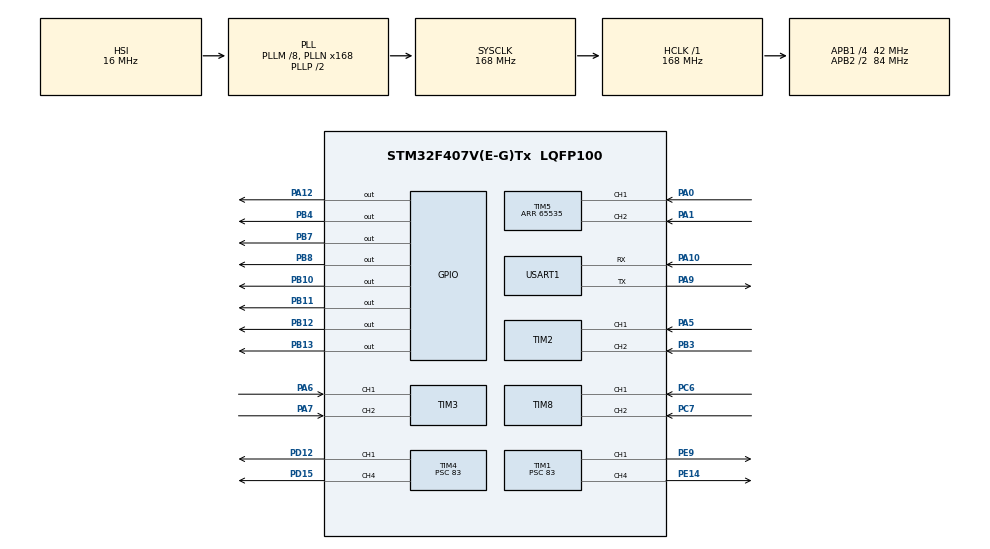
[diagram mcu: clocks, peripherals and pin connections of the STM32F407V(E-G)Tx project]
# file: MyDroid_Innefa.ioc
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Mcu.Family=STM32F4
Mcu.Name=STM32F407V(E-G)Tx
Mcu.Package=LQFP100
NVIC.PriorityGroup=NVIC_PRIORITYGROUP_4
PA0-WKUP.Signal=S_TIM5_CH1
PA1.Signal=S_TIM5_CH2
PA10.Mode=Asynchronous
PA10.Signal=USART1_RX
PA12.GPIO_Speed=GPIO_SPEED_FREQ_HIGH
PA12.Signal=GPIO_Output
PA5.Signal=S_TIM2_CH1_ETR
PA6.Signal=S_TIM3_CH1
PA7.Signal=S_TIM3_CH2
PA9.Mode=Asynchronous
PA9.Signal=USART1_TX
PB10.GPIO_Speed=GPIO_SPEED_FREQ_HIGH
PB10.Signal=GPIO_Output
PB11.GPIO_Speed=GPIO_SPEED_FREQ_HIGH
PB11.Signal=GPIO_Output
PB12.GPIO_Speed=GPIO_SPEED_FREQ_HIGH
PB12.Signal=GPIO_Output
PB13.GPIO_Speed=GPIO_SPEED_FREQ_HIGH
PB13.Signal=GPIO_Output
PB3.Signal=S_TIM2_CH2
PB4.GPIO_Speed=GPIO_SPEED_FREQ_HIGH
PB4.Signal=GPIO_Output
PB7.GPIO_Speed=GPIO_SPEED_FREQ_HIGH
PB7.Signal=GPIO_Output
PB8.GPIO_Speed=GPIO_SPEED_FREQ_HIGH
PB8.Signal=GPIO_Output
PC6.Signal=S_TIM8_CH1
PC7.Signal=S_TIM8_CH2
PD12.Signal=S_TIM4_CH1
PD15.Signal=S_TIM4_CH4
PE14.Signal=S_TIM1_CH4
PE9.Signal=S_TIM1_CH1
ProjectManager.HeapSize=0x200
ProjectManager.StackSize=0x400
ProjectManager.TargetToolchain=MDK-ARM V5.32
RCC.48MHZClocksFreq_Value=84000000
RCC.AHBFreq_Value=168000000
RCC.APB1CLKDivider=RCC_HCLK_DIV4
RCC.APB1Freq_Value=42000000
RCC.APB1TimFreq_Value=84000000
RCC.APB2CLKDivider=RCC_HCLK_DIV2
RCC.APB2Freq_Value=84000000
RCC.APB2TimFreq_Value=168000000
RCC.CortexFreq_Value=168000000
RCC.HCLKFreq_Value=168000000
RCC.HSE_VALUE=25000000
RCC.HSI_VALUE=16000000
RCC.LSE_VALUE=32768
RCC.PLLM=8
RCC.PLLN=168
RCC.SYSCLKFreq_VALUE=168000000
RCC.SYSCLKSource=RCC_SYSCLKSOURCE_PLLCLK
RCC.VCOOutputFreq_Value=336000000
SH.S_TIM1_CH1.0=TIM1_CH1,PWM Generation1 CH1
SH.S_TIM1_CH4.0=TIM1_CH4,PWM Generation4 CH4
SH.S_TIM2_CH1_ETR.0=TIM2_CH1,Encoder_Interface
SH.S_TIM2_CH2.0=TIM2_CH2,Encoder_Interface
SH.S_TIM3_CH1.0=TIM3_CH1,Encoder_Interface
SH.S_TIM3_CH2.0=TIM3_CH2,Encoder_Interface
SH.S_TIM4_CH1.0=TIM4_CH1,PWM Generation1 CH1
SH.S_TIM4_CH4.0=TIM4_CH4,PWM Generation4 CH4
SH.S_TIM5_CH1.0=TIM5_CH1,Encoder_Interface
SH.S_TIM5_CH2.0=TIM5_CH2,Encoder_Interface
SH.S_TIM8_CH1.0=TIM8_CH1,Encoder_Interface
SH.S_TIM8_CH2.0=TIM8_CH2,Encoder_Interface
TIM1.Channel-PWM\ Generation1\ CH1=TIM_CHANNEL_1
TIM1.Channel-PWM\ Generation4\ CH4=TIM_CHANNEL_4
TIM1.Period=999
TIM1.Prescaler=83
TIM3.EncoderMode=TIM_ENCODERMODE_TI12
TIM4.Channel-PWM\ Generation1\ CH1=TIM_CHANNEL_1
TIM4.Channel-PWM\ Generation4\ CH4=TIM_CHANNEL_4
TIM4.Period=999
TIM4.Prescaler=83
TIM5.EncoderMode=TIM_ENCODERMODE_TI12
TIM5.Period=65535
TIM8.EncoderMode=TIM_ENCODERMODE_TI12
USART1.VirtualMode=VM_ASYNC
board=custom

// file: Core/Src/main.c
/* USER CODE BEGIN Header */
/**
  ******************************************************************************
  * @file           : main.c
  * @brief          : Main program body
  ******************************************************************************
  * @attention
  *
  * Copyright (c) 2026 STMicroelectronics.
  * All rights reserved.
  *
  * This software is licensed under terms that can be found in the LICENSE file
  * in the root directory of this software component.
  * If no LICENSE file comes with this software, it is provided AS-IS.
  *
  ******************************************************************************
  */
/* USER CODE END Header */
#include "main.h"

/* USER CODE BEGIN Includes */
#include <stdbool.h>
#include <string.h>

#include "motor_control.h"
#include "ps2_gamepad.h"
#include "protocol.h"

/* USER CODE END Includes */

TIM_HandleTypeDef htim1;
TIM_HandleTypeDef htim2;
TIM_HandleTypeDef htim3;
TIM_HandleTypeDef htim4;
TIM_HandleTypeDef htim5;
TIM_HandleTypeDef htim8;

UART_HandleTypeDef huart1;

/* USER CODE BEGIN PV */
static uint8_t g_uart1_rx_byte = 0U;
static volatile uint8_t g_has_command = 0U;
static RobotCommand g_latest_command;
static PS2GamepadState g_ps2_state;
static uint8_t g_ps2_manual_enabled = 0U;
static uint8_t g_ps2_estop_latched = 0U;
static uint8_t g_ps2_start_prev = 0U;
static uint8_t g_ps2_select_prev = 0U;
static uint32_t g_ps2_last_poll_ms = 0U;

/* USER CODE END PV */

void SystemClock_Config(void);
static void MX_GPIO_Init(void);
static void MX_TIM1_Init(void);
static void MX_TIM2_Init(void);
static void MX_TIM3_Init(void);
static void MX_TIM4_Init(void);
static void MX_TIM5_Init(void);
static void MX_TIM8_Init(void);
static void MX_USART1_UART_Init(void);
void HAL_TIM_MspPostInit(TIM_HandleTypeDef *htim);
/* USER CODE BEGIN PFP */
static void App_EnableUsart1Interrupt(void);
static void App_StartUart1Receive(void);
static bool App_CopyLatestCommand(RobotCommand *out_command);
static bool App_CommandTimedOut(const RobotCommand *command, uint32_t now_ms);
static void App_PollPs2Gamepad(uint32_t now_ms);
static void App_UpdatePs2ModeState(const PS2GamepadState *state);
static bool App_GetPs2DriveCommand(float *vx_mps, float *vy_mps, float *omega_radps);
static bool App_HandlePs2Bypass(uint32_t now_ms);

/* USER CODE END PFP */

/* USER CODE BEGIN 0 */
static void App_EnableUsart1Interrupt(void)
{
  /*
   * CubeMX 当前已经生成了 USART1_IRQHandler，
   * 但没有自动在 NVIC 中打开该中断，这里在应用层显式补齐。
   */
  HAL_NVIC_SetPriority(USART1_IRQn, 1U, 0U);
  HAL_NVIC_EnableIRQ(USART1_IRQn);
}

static void App_StartUart1Receive(void)
{
  /*
   * 串口接收采用“单字节中断 + 协议状态机拼帧”。
   * 这样可以在存在噪声字节时继续通过帧头重新同步，
   * 是当前阶段最稳妥、最容易维护的下位机接收方式。
   */
  if (HAL_UART_Receive_IT(&huart1, &g_uart1_rx_byte, 1U) != HAL_OK)
  {
    Error_Handler();
  }
}

static bool App_CopyLatestCommand(RobotCommand *out_command)
{
  bool has_command = false;
  uint32_t primask;

  if (out_command == NULL)
  {
    return false;
  }

  primask = __get_PRIMASK();
  __disable_irq();
  if (g_has_command != 0U)
  {
    *out_command = g_latest_command;
    has_command = true;
  }
  if (primask == 0U)
  {
    __enable_irq();
  }

  return has_command;
}

static bool App_CommandTimedOut(const RobotCommand *command, uint32_t now_ms)
{
  if (command == NULL)
  {
    return true;
  }

  return (now_ms - command->last_update_ms) > UART_COMMAND_TIMEOUT_MS;
}

static void App_PollPs2Gamepad(uint32_t now_ms)
{
  if ((now_ms - g_ps2_last_poll_ms) < PS2_GAMEPAD_POLL_INTERVAL_MS)
  {
    return;
  }

  g_ps2_last_poll_ms = now_ms;
  if (PS2_Gamepad_Poll(&g_ps2_state))
  {
    App_UpdatePs2ModeState(&g_ps2_state);
  }
  else
  {
    /*
     * 如果当前轮询没读到有效帧，就清掉边沿检测状态，避免后续“补读到一帧”时误判按钮连击。
     * 是否真正视为掉线，由超时逻辑统一判断。
     */
    g_ps2_start_prev = 0U;
    g_ps2_select_prev = 0U;
  }
}

static void App_UpdatePs2ModeState(const PS2GamepadState *state)
{
  uint8_t start_pressed;
  uint8_t select_pressed;

  if (state == NULL)
  {
    return;
  }

  start_pressed = PS2_Gamepad_IsPressed(state, PS2_BUTTON_START) ? 1U : 0U;
  select_pressed = PS2_Gamepad_IsPressed(state, PS2_BUTTON_SELECT) ? 1U : 0U;

  /*
   * SELECT：急停并退出旁路模式。
   * 这样用户在本地手柄控制时，也能在 STM32 这一层直接切断底盘输出。
   */
  if ((select_pressed != 0U) && (g_ps2_select_prev == 0U))
  {
    g_ps2_estop_latched = 1U;
    g_ps2_manual_enabled = 0U;
  }

  /*
   * START：切换旁路模式。
   * 如果之前因为 SELECT 急停而锁死，按一次 START 会先解除急停，再进入旁路模式。
   */
  if ((start_pressed != 0U) && (g_ps2_start_prev == 0U))
  {
    g_ps2_estop_latched = 0U;
    g_ps2_manual_enabled = (g_ps2_manual_enabled == 0U) ? 1U : 0U;
  }

  g_ps2_start_prev = start_pressed;
  g_ps2_select_prev = select_pressed;
}

static bool App_GetPs2DriveCommand(float *vx_mps, float *vy_mps, float *omega_radps)
{
  float forward;
  float strafe;
  float rotate;
  float speed_scale = PS2_GAMEPAD_NORMAL_SCALE;

  if ((vx_mps == NULL) || (vy_mps == NULL) || (omega_radps == NULL))
  {
    return false;
  }

  if ((!g_ps2_state.connected) || (!g_ps2_state.analog_mode))
  {
    return false;
  }

  /*
   * 轴映射约定：
   * - 左摇杆 Y：前进 / 后退
   * - 左摇杆 X：左右平移
   * - 右摇杆 X：原地旋转
   *
   * 由于 PS2 原始值中“向上/向左”通常对应更小的数值，
   * 所以下面会根据车体坐标系再做一次符号调整。
   */
  forward = -PS2_Gamepad_NormalizeAxis(g_ps2_state.ly, PS2_GAMEPAD_AXIS_DEADBAND);
  strafe = -PS2_Gamepad_NormalizeAxis(g_ps2_state.lx, PS2_GAMEPAD_AXIS_DEADBAND);
  rotate = -PS2_Gamepad_NormalizeAxis(g_ps2_state.rx, PS2_GAMEPAD_AXIS_DEADBAND);

  /*
   * L1 / R1 做速度档位切换：
   * - L1：慢速精调
   * - 默认：普通调试速度
   * - R1：全速
   */
  if (PS2_Gamepad_IsPressed(&g_ps2_state, PS2_BUTTON_L1))
  {
    speed_scale = PS2_GAMEPAD_SLOW_SCALE;
  }
  else if (PS2_Gamepad_IsPressed(&g_ps2_state, PS2_BUTTON_R1))
  {
    speed_scale = PS2_GAMEPAD_FAST_SCALE;
  }

  *vx_mps = forward * MAX_BODY_VX_MPS * speed_scale;
  *vy_mps = strafe * MAX_BODY_VY_MPS * speed_scale;
  *omega_radps = rotate * MAX_BODY_OMEGA_RADPS * speed_scale;
  return true;
}

static bool App_HandlePs2Bypass(uint32_t now_ms)
{
  float vx_mps;
  float vy_mps;
  float omega_radps;

  App_PollPs2Gamepad(now_ms);

  /*
   * 只有在两种情况下，PS2 旁路链路才会“抢占”UART：
   * 1. 用户明确按 START 进入了旁路模式；
   * 2. 用户按 SELECT 触发了本地急停，需要由 STM32 本地保持停车。
   */
  if ((g_ps2_manual_enabled == 0U) && (g_ps2_estop_latched == 0U))
  {
    return false;
  }

  /*
   * 只要本地急停锁存、手柄超时或接收器失联，就直接停车。
   * 注意这里不会自动切回 UART，目的是防止用户以为自己在本地控车，
   * 但实际上又被 Radxa 的旧命令接管。
   */
  if ((g_ps2_estop_latched != 0U) ||
      (!PS2_Gamepad_IsFresh(&g_ps2_state, now_ms, PS2_GAMEPAD_TIMEOUT_MS)) ||
      (!g_ps2_state.connected) ||
      (!g_ps2_state.analog_mode))
  {
    MotorControl_StopAll();
    return true;
  }

  if (!App_GetPs2DriveCommand(&vx_mps, &vy_mps, &omega_radps))
  {
    MotorControl_StopAll();
    return true;
  }

  MotorControl_SetBodyVelocity(vx_mps, vy_mps, omega_radps);
  return true;
}

/* USER CODE END 0 */

int main(void)
{

  /* MCU Configuration--------------------------------------------------------*/

  /* Reset of all peripherals, Initializes the Flash interface and the Systick. */
  HAL_Init();

  /* Configure the system clock */
  SystemClock_Config();

  /* Initialize all configured peripherals */
  MX_GPIO_Init();
  MX_TIM1_Init();
  MX_TIM2_Init();
  MX_TIM3_Init();
  MX_TIM4_Init();
  MX_TIM5_Init();
  MX_TIM8_Init();
  MX_USART1_UART_Init();
  /* USER CODE BEGIN 2 */
  /*
   * 先清空上一轮状态，确保系统上电时不会沿用未知命令。
   */
  memset(&g_latest_command, 0, sizeof(g_latest_command));
  g_latest_command.pan_angle_deg = PAN_SERVO_NEUTRAL_DEG;
  memset(&g_ps2_state, 0, sizeof(g_ps2_state));
  Protocol_Init();

  /*
   * 当前阶段只初始化麦轮控制：
   * - TIM1 驱动前轴两轮；
   * - TIM4 驱动后轴两轮；
   * - 不初始化 Pan/云台硬件输出。
   */
  MotorControl_Init(&htim1, &htim4);

  /*
   * 初始化 PS2 手柄直连旁路控制。
   * 默认不会自动接管底盘，必须由用户在手柄上按 START 才进入旁路模式。
   */
  PS2_Gamepad_Init();

  /*
   * 打开 USART1 中断，并立即挂起第一字节接收。
   * 从这一刻开始，ROCK 3B 发来的控制帧才会真正进入协议解析链路。
   */
  App_EnableUsart1Interrupt();
  App_StartUart1Receive();

  /* USER CODE END 2 */

  /* Infinite loop */
  while (1)
  {

    /* USER CODE BEGIN 3 */
    RobotCommand command_snapshot;
    const uint32_t now_ms = HAL_GetTick();
    const bool has_command = App_CopyLatestCommand(&command_snapshot);

    /*
     * 优先处理 PS2 本地旁路控制。
     * 一旦旁路模式被用户显式开启，STM32 会优先服从本地手柄。
     */
    if (App_HandlePs2Bypass(now_ms))
    {
      HAL_Delay(5);
      continue;
    }

    /*
     * 只有满足下面 4 个条件时才允许驱动底盘：
     * 1. 已经至少收到过一帧完整合法命令；
     * 2. 该命令没有超时；
     * 3. 上位机明确标记该命令有效；
     * 4. 当前不处于急停状态。
     *
     * 任何一个条件不满足，都直接停车进入保护。
     */
    if ((!has_command) ||
        App_CommandTimedOut(&command_snapshot, now_ms) ||
        (!command_snapshot.command_valid) ||
        command_snapshot.estop)
    {
      MotorControl_StopAll();
    }
    else
    {
      MotorControl_ApplyCommand(&command_snapshot);
    }

    /*
     * 短延时用于避免主循环空转占满 CPU。
     * 控制实时性主要由串口中断、协议解析和超时保护保证。
     */
    HAL_Delay(5);
  }
  /* USER CODE END 3 */
}

void SystemClock_Config(void)
{
  RCC_OscInitTypeDef RCC_OscInitStruct = {0};
  RCC_ClkInitTypeDef RCC_ClkInitStruct = {0};

  /** Configure the main internal regulator output voltage
  */
  __HAL_RCC_PWR_CLK_ENABLE();
  __HAL_PWR_VOLTAGESCALING_CONFIG(PWR_REGULATOR_VOLTAGE_SCALE1);

  /** Initializes the RCC Oscillators according to the specified parameters
  * in the RCC_OscInitTypeDef structure.
  */
  RCC_OscInitStruct.OscillatorType = RCC_OSCILLATORTYPE_HSI;
  RCC_OscInitStruct.HSIState = RCC_HSI_ON;
  RCC_OscInitStruct.HSICalibrationValue = RCC_HSICALIBRATION_DEFAULT;
  RCC_OscInitStruct.PLL.PLLState = RCC_PLL_ON;
  RCC_OscInitStruct.PLL.PLLSource = RCC_PLLSOURCE_HSI;
  RCC_OscInitStruct.PLL.PLLM = 8;
  RCC_OscInitStruct.PLL.PLLN = 168;
  RCC_OscInitStruct.PLL.PLLP = RCC_PLLP_DIV2;
  RCC_OscInitStruct.PLL.PLLQ = 4;
  if (HAL_RCC_OscConfig(&RCC_OscInitStruct) != HAL_OK)
  {
    Error_Handler();
  }

  /** Initializes the CPU, AHB and APB buses clocks
  */
  RCC_ClkInitStruct.ClockType = RCC_CLOCKTYPE_HCLK|RCC_CLOCKTYPE_SYSCLK
                              |RCC_CLOCKTYPE_PCLK1|RCC_CLOCKTYPE_PCLK2;
  RCC_ClkInitStruct.SYSCLKSource = RCC_SYSCLKSOURCE_PLLCLK;
  RCC_ClkInitStruct.AHBCLKDivider = RCC_SYSCLK_DIV1;
  RCC_ClkInitStruct.APB1CLKDivider = RCC_HCLK_DIV4;
  RCC_ClkInitStruct.APB2CLKDivider = RCC_HCLK_DIV2;

  if (HAL_RCC_ClockConfig(&RCC_ClkInitStruct, FLASH_LATENCY_5) != HAL_OK)
  {
    Error_Handler();
  }
}

static void MX_TIM1_Init(void)
{

  TIM_MasterConfigTypeDef sMasterConfig = {0};
  TIM_OC_InitTypeDef sConfigOC = {0};
  TIM_BreakDeadTimeConfigTypeDef sBreakDeadTimeConfig = {0};

  htim1.Instance = TIM1;
  htim1.Init.Prescaler = 83;
  htim1.Init.CounterMode = TIM_COUNTERMODE_UP;
  htim1.Init.Period = 999;
  htim1.Init.ClockDivision = TIM_CLOCKDIVISION_DIV1;
  htim1.Init.RepetitionCounter = 0;
  htim1.Init.AutoReloadPreload = TIM_AUTORELOAD_PRELOAD_DISABLE;
  if (HAL_TIM_PWM_Init(&htim1) != HAL_OK)
  {
    Error_Handler();
  }
  sMasterConfig.MasterOutputTrigger = TIM_TRGO_RESET;
  sMasterConfig.MasterSlaveMode = TIM_MASTERSLAVEMODE_DISABLE;
  if (HAL_TIMEx_MasterConfigSynchronization(&htim1, &sMasterConfig) != HAL_OK)
  {
    Error_Handler();
  }
  sConfigOC.OCMode = TIM_OCMODE_PWM1;
  sConfigOC.Pulse = 0;
  sConfigOC.OCPolarity = TIM_OCPOLARITY_HIGH;
  sConfigOC.OCNPolarity = TIM_OCNPOLARITY_HIGH;
  sConfigOC.OCFastMode = TIM_OCFAST_DISABLE;
  sConfigOC.OCIdleState = TIM_OCIDLESTATE_RESET;
  sConfigOC.OCNIdleState = TIM_OCNIDLESTATE_RESET;
  if (HAL_TIM_PWM_ConfigChannel(&htim1, &sConfigOC, TIM_CHANNEL_1) != HAL_OK)
  {
    Error_Handler();
  }
  if (HAL_TIM_PWM_ConfigChannel(&htim1, &sConfigOC, TIM_CHANNEL_4) != HAL_OK)
  {
    Error_Handler();
  }
  sBreakDeadTimeConfig.OffStateRunMode = TIM_OSSR_DISABLE;
  sBreakDeadTimeConfig.OffStateIDLEMode = TIM_OSSI_DISABLE;
  sBreakDeadTimeConfig.LockLevel = TIM_LOCKLEVEL_OFF;
  sBreakDeadTimeConfig.DeadTime = 0;
  sBreakDeadTimeConfig.BreakState = TIM_BREAK_DISABLE;
  sBreakDeadTimeConfig.BreakPolarity = TIM_BREAKPOLARITY_HIGH;
  sBreakDeadTimeConfig.AutomaticOutput = TIM_AUTOMATICOUTPUT_DISABLE;
  if (HAL_TIMEx_ConfigBreakDeadTime(&htim1, &sBreakDeadTimeConfig) != HAL_OK)
  {
    Error_Handler();
  }
  HAL_TIM_MspPostInit(&htim1);

}

static void MX_TIM2_Init(void)
{

  TIM_Encoder_InitTypeDef sConfig = {0};
  TIM_MasterConfigTypeDef sMasterConfig = {0};

  htim2.Instance = TIM2;
  htim2.Init.Prescaler = 0;
  htim2.Init.CounterMode = TIM_COUNTERMODE_UP;
  htim2.Init.Period = 4294967295;
  htim2.Init.ClockDivision = TIM_CLOCKDIVISION_DIV1;
  htim2.Init.AutoReloadPreload = TIM_AUTORELOAD_PRELOAD_DISABLE;
  sConfig.EncoderMode = TIM_ENCODERMODE_TI1;
  sConfig.IC1Polarity = TIM_ICPOLARITY_RISING;
  sConfig.IC1Selection = TIM_ICSELECTION_DIRECTTI;
  sConfig.IC1Prescaler = TIM_ICPSC_DIV1;
  sConfig.IC1Filter = 0;
  sConfig.IC2Polarity = TIM_ICPOLARITY_RISING;
  sConfig.IC2Selection = TIM_ICSELECTION_DIRECTTI;
  sConfig.IC2Prescaler = TIM_ICPSC_DIV1;
  sConfig.IC2Filter = 0;
  if (HAL_TIM_Encoder_Init(&htim2, &sConfig) != HAL_OK)
  {
    Error_Handler();
  }
  sMasterConfig.MasterOutputTrigger = TIM_TRGO_RESET;
  sMasterConfig.MasterSlaveMode = TIM_MASTERSLAVEMODE_DISABLE;
  if (HAL_TIMEx_MasterConfigSynchronization(&htim2, &sMasterConfig) != HAL_OK)
  {
    Error_Handler();
  }

}

static void MX_TIM3_Init(void)
{

  TIM_Encoder_InitTypeDef sConfig = {0};
  TIM_MasterConfigTypeDef sMasterConfig = {0};

  htim3.Instance = TIM3;
  htim3.Init.Prescaler = 0;
  htim3.Init.CounterMode = TIM_COUNTERMODE_UP;
  htim3.Init.Period = 65535;
  htim3.Init.ClockDivision = TIM_CLOCKDIVISION_DIV1;
  htim3.Init.AutoReloadPreload = TIM_AUTORELOAD_PRELOAD_DISABLE;
  sConfig.EncoderMode = TIM_ENCODERMODE_TI12;
  sConfig.IC1Polarity = TIM_ICPOLARITY_RISING;
  sConfig.IC1Selection = TIM_ICSELECTION_DIRECTTI;
  sConfig.IC1Prescaler = TIM_ICPSC_DIV1;
  sConfig.IC1Filter = 0;
  sConfig.IC2Polarity = TIM_ICPOLARITY_RISING;
  sConfig.IC2Selection = TIM_ICSELECTION_DIRECTTI;
  sConfig.IC2Prescaler = TIM_ICPSC_DIV1;
  sConfig.IC2Filter = 0;
  if (HAL_TIM_Encoder_Init(&htim3, &sConfig) != HAL_OK)
  {
    Error_Handler();
  }
  sMasterConfig.MasterOutputTrigger = TIM_TRGO_RESET;
  sMasterConfig.MasterSlaveMode = TIM_MASTERSLAVEMODE_DISABLE;
  if (HAL_TIMEx_MasterConfigSynchronization(&htim3, &sMasterConfig) != HAL_OK)
  {
    Error_Handler();
  }

}

static void MX_TIM4_Init(void)
{

  TIM_MasterConfigTypeDef sMasterConfig = {0};
  TIM_OC_InitTypeDef sConfigOC = {0};

  htim4.Instance = TIM4;
  htim4.Init.Prescaler = 83;
  htim4.Init.CounterMode = TIM_COUNTERMODE_UP;
  htim4.Init.Period = 999;
  htim4.Init.ClockDivision = TIM_CLOCKDIVISION_DIV1;
  htim4.Init.AutoReloadPreload = TIM_AUTORELOAD_PRELOAD_DISABLE;
  if (HAL_TIM_PWM_Init(&htim4) != HAL_OK)
  {
    Error_Handler();
  }
  sMasterConfig.MasterOutputTrigger = TIM_TRGO_RESET;
  sMasterConfig.MasterSlaveMode = TIM_MASTERSLAVEMODE_DISABLE;
  if (HAL_TIMEx_MasterConfigSynchronization(&htim4, &sMasterConfig) != HAL_OK)
  {
    Error_Handler();
  }
  sConfigOC.OCMode = TIM_OCMODE_PWM1;
  sConfigOC.Pulse = 0;
  sConfigOC.OCPolarity = TIM_OCPOLARITY_HIGH;
  sConfigOC.OCFastMode = TIM_OCFAST_DISABLE;
  if (HAL_TIM_PWM_ConfigChannel(&htim4, &sConfigOC, TIM_CHANNEL_1) != HAL_OK)
  {
    Error_Handler();
  }
  if (HAL_TIM_PWM_ConfigChannel(&htim4, &sConfigOC, TIM_CHANNEL_4) != HAL_OK)
  {
    Error_Handler();
  }
  HAL_TIM_MspPostInit(&htim4);

}

static void MX_TIM5_Init(void)
{

  TIM_Encoder_InitTypeDef sConfig = {0};
  TIM_MasterConfigTypeDef sMasterConfig = {0};

  htim5.Instance = TIM5;
  htim5.Init.Prescaler = 0;
  htim5.Init.CounterMode = TIM_COUNTERMODE_UP;
  htim5.Init.Period = 65535;
  htim5.Init.ClockDivision = TIM_CLOCKDIVISION_DIV1;
  htim5.Init.AutoReloadPreload = TIM_AUTORELOAD_PRELOAD_DISABLE;
  sConfig.EncoderMode = TIM_ENCODERMODE_TI12;
  sConfig.IC1Polarity = TIM_ICPOLARITY_RISING;
  sConfig.IC1Selection = TIM_ICSELECTION_DIRECTTI;
  sConfig.IC1Prescaler = TIM_ICPSC_DIV1;
  sConfig.IC1Filter = 0;
  sConfig.IC2Polarity = TIM_ICPOLARITY_RISING;
  sConfig.IC2Selection = TIM_ICSELECTION_DIRECTTI;
  sConfig.IC2Prescaler = TIM_ICPSC_DIV1;
  sConfig.IC2Filter = 0;
  if (HAL_TIM_Encoder_Init(&htim5, &sConfig) != HAL_OK)
  {
    Error_Handler();
  }
  sMasterConfig.MasterOutputTrigger = TIM_TRGO_RESET;
  sMasterConfig.MasterSlaveMode = TIM_MASTERSLAVEMODE_DISABLE;
  if (HAL_TIMEx_MasterConfigSynchronization(&htim5, &sMasterConfig) != HAL_OK)
  {
    Error_Handler();
  }

}

static void MX_TIM8_Init(void)
{

  TIM_Encoder_InitTypeDef sConfig = {0};
  TIM_MasterConfigTypeDef sMasterConfig = {0};

  htim8.Instance = TIM8;
  htim8.Init.Prescaler = 0;
  htim8.Init.CounterMode = TIM_COUNTERMODE_UP;
  htim8.Init.Period = 65535;
  htim8.Init.ClockDivision = TIM_CLOCKDIVISION_DIV1;
  htim8.Init.RepetitionCounter = 0;
  htim8.Init.AutoReloadPreload = TIM_AUTORELOAD_PRELOAD_DISABLE;
  sConfig.EncoderMode = TIM_ENCODERMODE_TI12;
  sConfig.IC1Polarity = TIM_ICPOLARITY_RISING;
  sConfig.IC1Selection = TIM_ICSELECTION_DIRECTTI;
  sConfig.IC1Prescaler = TIM_ICPSC_DIV1;
  sConfig.IC1Filter = 0;
  sConfig.IC2Polarity = TIM_ICPOLARITY_RISING;
  sConfig.IC2Selection = TIM_ICSELECTION_DIRECTTI;
  sConfig.IC2Prescaler = TIM_ICPSC_DIV1;
  sConfig.IC2Filter = 0;
  if (HAL_TIM_Encoder_Init(&htim8, &sConfig) != HAL_OK)
  {
    Error_Handler();
  }
  sMasterConfig.MasterOutputTrigger = TIM_TRGO_RESET;
  sMasterConfig.MasterSlaveMode = TIM_MASTERSLAVEMODE_DISABLE;
  if (HAL_TIMEx_MasterConfigSynchronization(&htim8, &sMasterConfig) != HAL_OK)
  {
    Error_Handler();
  }

}

static void MX_USART1_UART_Init(void)
{

  huart1.Instance = USART1;
  huart1.Init.BaudRate = 115200;
  huart1.Init.WordLength = UART_WORDLENGTH_8B;
  huart1.Init.StopBits = UART_STOPBITS_1;
  huart1.Init.Parity = UART_PARITY_NONE;
  huart1.Init.Mode = UART_MODE_TX_RX;
  huart1.Init.HwFlowCtl = UART_HWCONTROL_NONE;
  huart1.Init.OverSampling = UART_OVERSAMPLING_16;
  if (HAL_UART_Init(&huart1) != HAL_OK)
  {
    Error_Handler();
  }

}

static void MX_GPIO_Init(void)
{
  GPIO_InitTypeDef GPIO_InitStruct = {0};

  /* GPIO Ports Clock Enable */
  __HAL_RCC_GPIOA_CLK_ENABLE();
  __HAL_RCC_GPIOE_CLK_ENABLE();
  __HAL_RCC_GPIOB_CLK_ENABLE();
  __HAL_RCC_GPIOD_CLK_ENABLE();
  __HAL_RCC_GPIOC_CLK_ENABLE();

  /*Configure GPIO pin Output Level */
  HAL_GPIO_WritePin(GPIOB, GPIO_PIN_10|GPIO_PIN_11|GPIO_PIN_12|GPIO_PIN_13
                          |GPIO_PIN_4|GPIO_PIN_7|GPIO_PIN_8, GPIO_PIN_RESET);

  /*Configure GPIO pin Output Level */
  HAL_GPIO_WritePin(GPIOA, GPIO_PIN_12, GPIO_PIN_RESET);

  /*Configure GPIO pins : PB10 PB11 PB12 PB13
                           PB4 PB7 PB8 */
  GPIO_InitStruct.Pin = GPIO_PIN_10|GPIO_PIN_11|GPIO_PIN_12|GPIO_PIN_13
                          |GPIO_PIN_4|GPIO_PIN_7|GPIO_PIN_8;
  GPIO_InitStruct.Mode = GPIO_MODE_OUTPUT_PP;
  GPIO_InitStruct.Pull = GPIO_NOPULL;
  GPIO_InitStruct.Speed = GPIO_SPEED_FREQ_HIGH;
  HAL_GPIO_Init(GPIOB, &GPIO_InitStruct);

  /*Configure GPIO pin : PA12 */
  GPIO_InitStruct.Pin = GPIO_PIN_12;
  GPIO_InitStruct.Mode = GPIO_MODE_OUTPUT_PP;
  GPIO_InitStruct.Pull = GPIO_NOPULL;
  GPIO_InitStruct.Speed = GPIO_SPEED_FREQ_HIGH;
  HAL_GPIO_Init(GPIOA, &GPIO_InitStruct);

}

/* USER CODE BEGIN 4 */
void HAL_UART_RxCpltCallback(UART_HandleTypeDef *huart)
{
  if ((huart == NULL) || (huart->Instance != USART1))
  {
    return;
  }

  /*
   * 每收到 1 个字节，都立即送入协议状态机。
   * 当状态机确认已经拼出完整控制帧后，再原子性更新“最新命令快照”。
   */
  RobotCommand parsed_command;
  if (Protocol_ProcessByte(g_uart1_rx_byte, &parsed_command, HAL_GetTick()))
  {
    uint32_t primask = __get_PRIMASK();
    __disable_irq();
    g_latest_command = parsed_command;
    g_has_command = 1U;
    if (primask == 0U)
    {
      __enable_irq();
    }
  }

  App_StartUart1Receive();
}

void HAL_UART_ErrorCallback(UART_HandleTypeDef *huart)
{
  if ((huart == NULL) || (huart->Instance != USART1))
  {
    return;
  }

  /*
   * 一旦出现串口硬件错误，就清标志并重新挂起接收。
   * 这样可以尽快从噪声、溢出等异常中恢复，不把错误状态带到下一帧。
   */
  __HAL_UART_CLEAR_PEFLAG(huart);
  __HAL_UART_CLEAR_FEFLAG(huart);
  __HAL_UART_CLEAR_NEFLAG(huart);
  __HAL_UART_CLEAR_OREFLAG(huart);
  (void)HAL_UART_AbortReceive(huart);
  App_StartUart1Receive();
}

/* USER CODE END 4 */

void Error_Handler(void)
{
  __disable_irq();
  while (1)
  {
  }
}
